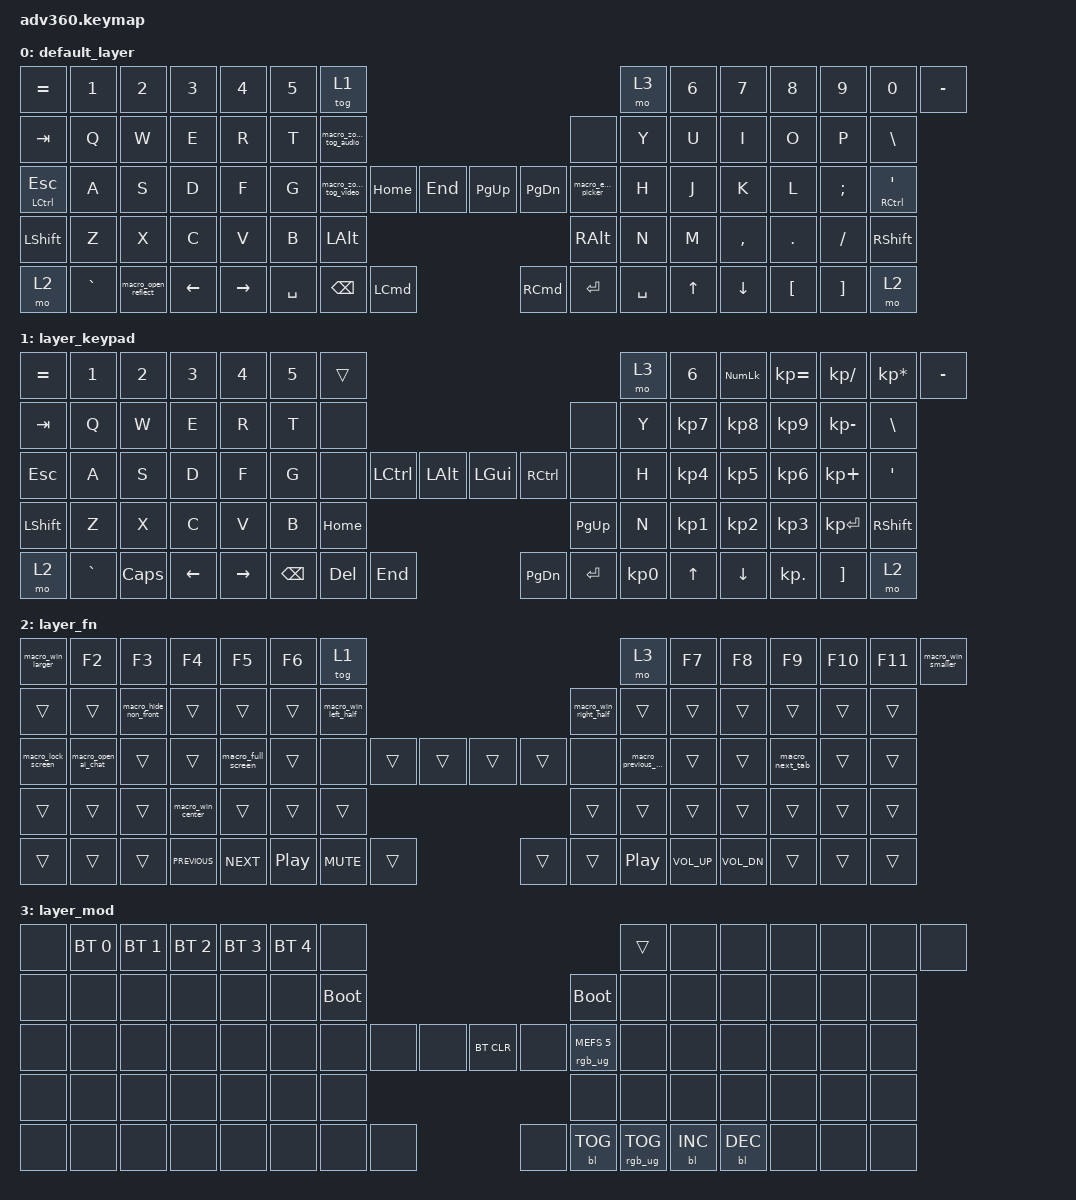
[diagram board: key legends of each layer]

/*
 * Copyright (c) 2020 The ZMK Contributors
 *
 * SPDX-License-Identifier: MIT
 */


/* THIS FILE WAS GENERATED!
 *
 * This file was generated automatically. You may or may not want to
 * edit it directly.
 */

#include <behaviors.dtsi>
#include <dt-bindings/zmk/keys.h>
#include <dt-bindings/zmk/bt.h>
#include <dt-bindings/zmk/rgb.h>
#include <dt-bindings/zmk/backlight.h>

/ {
    behaviors {
      #include "macros.dtsi"
      #include "version.dtsi"
      #ifndef VERSION_MACRO
      macro_ver: macro_ver {
        compatible = "zmk,behavior-macro";
        label = "macro_version";
        #binding-cells = <0>;
        bindings = <&kp RET>;
      };
      #endif

      hm: homerow_mods {
          compatible = "zmk,behavior-hold-tap";
          label = "HOMEROW_MODS";
          #binding-cells = <2>;
          tapping-term-ms = <200>;
          quick_tap_ms = <175>;
          flavor = "tap-preferred";
          bindings = <&kp>, <&kp>;
      };
    };

    keymap {
        compatible = "zmk,keymap";


        default_layer {
            bindings = <
               &kp EQUAL     &kp N1               &kp N2    &kp N3     &kp N4  &kp N5                           &tog 1                                                                                               &mo 3  &kp N6  &kp N7     &kp N8    &kp N9    &kp N0                       &kp MINUS
                 &kp TAB      &kp Q                &kp W     &kp E      &kp R   &kp T            &macro_zoom_tog_audio                                                                                               &none   &kp Y   &kp U      &kp I     &kp O     &kp P                        &kp BSLH
 &mt LEFT_CONTROL ESCAPE      &kp A                &kp S     &kp D      &kp F   &kp G            &macro_zoom_tog_video       &kp HOME           &kp END                          &kp PG_UP  &kp PG_DN  &macro_emoji_picker   &kp H   &kp J      &kp K     &kp L  &kp SEMI  &mt RIGHT_CONTROL SINGLE_QUOTE
               &kp LSHFT      &kp Z                &kp X     &kp C      &kp V   &kp B                                                      &kp LEFT_ALT                      &kp RIGHT_ALT                                   &kp N   &kp M  &kp COMMA   &kp DOT  &kp FSLH                       &kp RSHFT
                   &mo 2  &kp GRAVE  &macro_open_reflect  &kp LEFT  &kp RIGHT                                &kp SPACE  &kp BACKSPACE  &kp LEFT_COMMAND                  &kp RIGHT_COMMAND  &kp ENTER            &kp SPACE          &kp UP   &kp DOWN  &kp LBKT  &kp RBKT                           &mo 2
            >;
        };

        layer_keypad {
            bindings = <
 &kp EQUAL     &kp N1    &kp N2    &kp N3     &kp N4  &kp N5              &trans                                                                 &mo 3  &kp N6  &kp KP_NUM  &kp KP_EQUAL  &kp KP_DIVIDE  &kp KP_MULTIPLY  &kp MINUS
   &kp TAB      &kp Q     &kp W     &kp E      &kp R   &kp T               &none                                                                 &none   &kp Y   &kp KP_N7     &kp KP_N8      &kp KP_N9     &kp KP_MINUS   &kp BSLH
   &kp ESC      &kp A     &kp S     &kp D      &kp F   &kp G               &none  &kp LCTRL  &kp LALT                   &kp LGUI  &kp RCTRL      &none   &kp H   &kp KP_N4     &kp KP_N5      &kp KP_N6      &kp KP_PLUS    &kp SQT
 &kp LSHFT      &kp Z     &kp X     &kp C      &kp V   &kp B                                 &kp HOME                  &kp PG_UP                         &kp N   &kp KP_N1     &kp KP_N2      &kp KP_N3     &kp KP_ENTER  &kp RSHFT
     &mo 2  &kp GRAVE  &kp CAPS  &kp LEFT  &kp RIGHT                    &kp BSPC    &kp DEL   &kp END                  &kp PG_DN  &kp ENTER  &kp KP_N0              &kp UP      &kp DOWN     &kp KP_DOT         &kp RBKT      &mo 2
            >;
        };

        layer_fn {
            bindings = <
  &macro_win_larger               &kp F2                 &kp F3             &kp F4              &kp F5  &kp F6                          &tog 1                                                                      &mo 3               &kp F7        &kp F8        &kp F9          &kp F10  &kp F11  &macro_win_smaller
             &trans               &trans  &macro_hide_non_front             &trans              &trans  &trans            &macro_win_left_half                                                      &macro_win_right_half               &trans        &trans        &trans           &trans   &trans              &trans
 &macro_lock_screen  &macro_open_ai_chat                 &trans             &trans  &macro_full_screen  &trans                           &none      &trans  &trans                  &trans  &trans                  &none  &macro_previous_tab        &trans        &trans  &macro_next_tab   &trans              &trans
             &trans               &trans                 &trans  &macro_win_center              &trans  &trans                                              &trans                  &trans                                              &trans        &trans        &trans           &trans   &trans              &trans
             &trans               &trans                 &trans     &kp C_PREVIOUS          &kp C_NEXT                        &kp C_PLAY_PAUSE  &kp C_MUTE  &trans                  &trans  &trans       &kp C_PLAY_PAUSE                       &kp C_VOL_UP  &kp C_VOL_DN           &trans   &trans              &trans
            >;
        };

        layer_mod {
            bindings = <
  &none  &bt BT_SEL 0  &bt BT_SEL 1  &bt BT_SEL 2  &bt BT_SEL 3  &bt BT_SEL 4                  &none                                                                          &trans   &none       &none       &none   &none   &none   &none
  &none         &none         &none         &none         &none         &none            &bootloader                                                                     &bootloader   &none       &none       &none   &none   &none   &none
  &none         &none         &none         &none         &none         &none                  &none   &none   &none                  &bt BT_CLR       &none  &rgb_ug RGB_MEFS_CMD 5   &none       &none       &none   &none   &none   &none
  &none         &none         &none         &none         &none         &none                                  &none                       &none                                       &none       &none       &none   &none   &none   &none
  &none         &none         &none         &none         &none                                &none   &none   &none                       &none  &bl BL_TOG         &rgb_ug RGB_TOG          &bl BL_INC  &bl BL_DEC   &none   &none   &none
            >;
        };

    };
};
